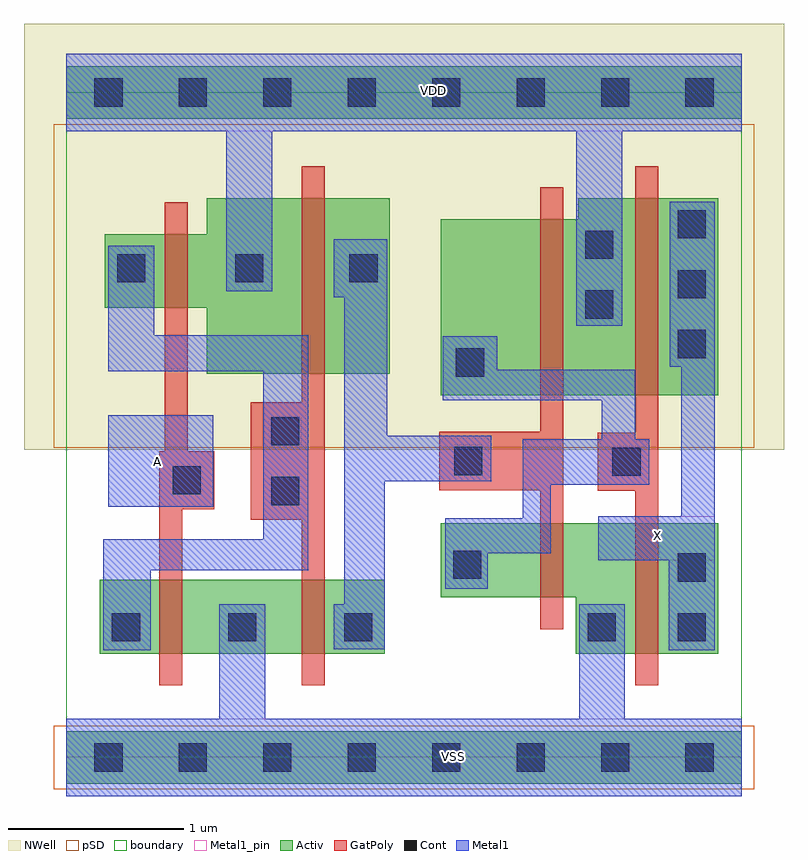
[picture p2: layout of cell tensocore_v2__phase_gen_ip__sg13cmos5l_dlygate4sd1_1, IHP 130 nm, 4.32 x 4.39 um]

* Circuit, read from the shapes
.subckt tensocore_v2__phase_gen_ip__sg13cmos5l_dlygate4sd1_1 A VDD VSS X
XM1 VSS A n1 VSS sg13_lv_nmos w=0.42u l=0.13u
XM2 n2 n1 VSS VSS sg13_lv_nmos w=0.42u l=0.13u
XM3 VSS n2 n3 VSS sg13_lv_nmos w=0.42u l=0.13u
XM4 X n3 VSS VSS sg13_lv_nmos w=0.74u l=0.13u
XM5 VDD A n1 VDD sg13_lv_pmos w=0.42u l=0.13u
XM6 n2 n1 VDD VDD sg13_lv_pmos w=1u l=0.13u
XM7 VDD n2 n3 VDD sg13_lv_pmos w=1u l=0.13u
XM8 X n3 VDD VDD sg13_lv_pmos w=1.12u l=0.13u
.ends

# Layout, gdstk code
import gdstk
lib = gdstk.Library(unit=1e-6, precision=1e-09)
def R(c, l, rs):  # rectangles x0, y0, x1, y1
    for r in rs: c.add(gdstk.rectangle(r[:2], r[2:], *l))
def A(c, l, x, y, w, h, nx, ny, dx, dy):  # array of equal rectangles
    R(c, l, [(x+i*dx, y+j*dy, x+i*dx+w, y+j*dy+h) for i in range(nx) for j in range(ny)])
def P(c, l, *ps):  # polygons
    for p in ps: c.add(gdstk.Polygon(p, *l))
Activ = (1, 0)
GatPoly = (5, 0)
Cont = (6, 0)
Metal1 = (8, 0)
Metal1_pin = (8, 2)
pSD = (14, 0)
NWell = (31, 0)
boundary = (189, 4)

tensocore_v2__phase_gen_ = lib.new_cell('tensocore_v2__phase_gen_ip__sg13cmos5l_dlygate4sd1_1')
R(tensocore_v2__phase_gen_, Activ, [(0,-0.15,3.84,0.15), (0.19,0.59,1.81,1.01), (0,3.63,3.84,3.93)])
P(tensocore_v2__phase_gen_, Activ, [(0.8,2.18),(0.8,2.555),(0.22,2.555),(0.22,2.975),(0.8,2.975),(0.8,3.18),(1.84,3.18),(1.84,2.18)],
  [(2.13,2.06),(2.13,3.06),(2.91,3.06),(2.91,3.18),(3.705,3.18),(3.705,2.06)],
  [(2.895,0.59),(2.895,0.91),(2.13,0.91),(2.13,1.33),(3.705,1.33),(3.705,0.59)])
P(tensocore_v2__phase_gen_, GatPoly, [(3.235,0.41),(3.235,1.515),(3.02,1.515),(3.02,1.845),(3.235,1.845),(3.235,3.36),(3.365,3.36),(3.365,0.41)],
  [(1.34,0.41),(1.34,1.35),(1.05,1.35),(1.05,2.02),(1.34,2.02),(1.34,3.36),(1.47,3.36),(1.47,0.41)],
  [(0.53,0.41),(0.53,1.74),(0.56,1.74),(0.56,3.155),(0.69,3.155),(0.69,1.74),(0.84,1.74),(0.84,1.41),(0.66,1.41),(0.66,0.41)],
  [(2.695,0.73),(2.695,1.52),(2.12,1.52),(2.12,1.85),(2.695,1.85),(2.695,3.24),(2.825,3.24),(2.825,0.73)])
A(tensocore_v2__phase_gen_, Cont, 0.16, -0.08, 0.16, 0.16, 8, 2, 0.48, 3.78)
A(tensocore_v2__phase_gen_, Cont, 0.26, 0.66, 0.16, 0.16, 3, 1, 0.66, 0)
A(tensocore_v2__phase_gen_, Cont, 3.475, 2.27, 0.16, 0.16, 1, 3, 0, 0.34)
R(tensocore_v2__phase_gen_, Cont, [(2.965,0.66,3.125,0.82), (3.475,0.66,3.635,0.82), (3.475,1,3.635,1.16), (2.2,1.015,2.36,1.175), (1.165,1.435,1.325,1.595), (0.605,1.495,0.765,1.655), (3.105,1.6,3.265,1.76), (2.205,1.605,2.365,1.765), (1.165,1.775,1.325,1.935), (2.215,2.165,2.375,2.325), (2.95,2.495,3.11,2.655), (0.29,2.7,0.45,2.86), (0.96,2.7,1.12,2.86), (1.61,2.7,1.77,2.86), (2.95,2.835,3.11,2.995)])
R(tensocore_v2__phase_gen_, Metal1, [(3.025,1.12,3.685,1.37), (0.24,1.425,0.835,1.945)])
P(tensocore_v2__phase_gen_, Metal1, [(0,-0.22),(0,0.22),(0.87,0.22),(0.87,0.87),(1.13,0.87),(1.13,0.22),(2.915,0.22),(2.915,0.87),(3.175,0.87),(3.175,0.22),(3.84,0.22),(3.84,-0.22)],
  [(2.9,2.455),(2.9,3.56),(1.17,3.56),(1.17,2.65),(0.91,2.65),(0.91,3.56),(0,3.56),(0,4),(3.84,4),(3.84,3.56),(3.16,3.56),(3.16,2.455)],
  [(0.21,0.61),(0.21,1.24),(1.12,1.24),(1.12,2.195),(0.24,2.195),(0.24,2.91),(0.5,2.91),(0.5,2.4),(1.375,2.4),(1.375,1.065),(0.48,1.065),(0.48,0.61)],
  [(1.52,0.615),(1.52,0.87),(1.58,0.87),(1.58,2.615),(1.52,2.615),(1.52,2.945),(1.825,2.945),(1.825,1.83),(2.415,1.83),(2.415,1.57),(1.81,1.57),(1.81,0.615)],
  [(3.425,0.61),(3.425,1.37),(3.495,1.37),(3.495,2.22),(3.43,2.22),(3.43,3.16),(3.685,3.16),(3.685,0.61)],
  [(2.155,0.96),(2.155,1.36),(2.595,1.36),(2.595,1.81),(3.045,1.81),(3.045,2.03),(2.14,2.03),(2.14,2.395),(2.45,2.395),(2.45,2.205),(3.235,2.205),(3.235,1.81),(3.315,1.81),(3.315,1.55),(2.755,1.55),(2.755,1.16),(2.395,1.16),(2.395,0.96)])
R(tensocore_v2__phase_gen_, Metal1_pin, [(0,-0.22,3.84,0.22), (3.025,1.12,3.685,1.37), (0.24,1.425,0.835,1.945), (0,3.56,3.84,4)])
R(tensocore_v2__phase_gen_, pSD, [(-0.07,-0.18,3.91,0.18), (-0.07,1.76,3.91,3.6)])
R(tensocore_v2__phase_gen_, NWell, [(-0.24,1.75,4.08,4.17)])
R(tensocore_v2__phase_gen_, boundary, [(0,0,3.84,3.78)])
tensocore_v2__phase_gen_.add(gdstk.Label('A', (0.52,1.68), layer=8, texttype=25))
tensocore_v2__phase_gen_.add(gdstk.Label('VSS', (2.2,0.005), layer=8, texttype=25))
tensocore_v2__phase_gen_.add(gdstk.Label('VDD', (2.085,3.79), layer=8, texttype=25))
tensocore_v2__phase_gen_.add(gdstk.Label('X', (3.36,1.26), layer=8, texttype=25))

lib.write_gds('tensocore_v2__phase_gen_ip__sg13cmos5l_dlygate4sd1_1.gds')
